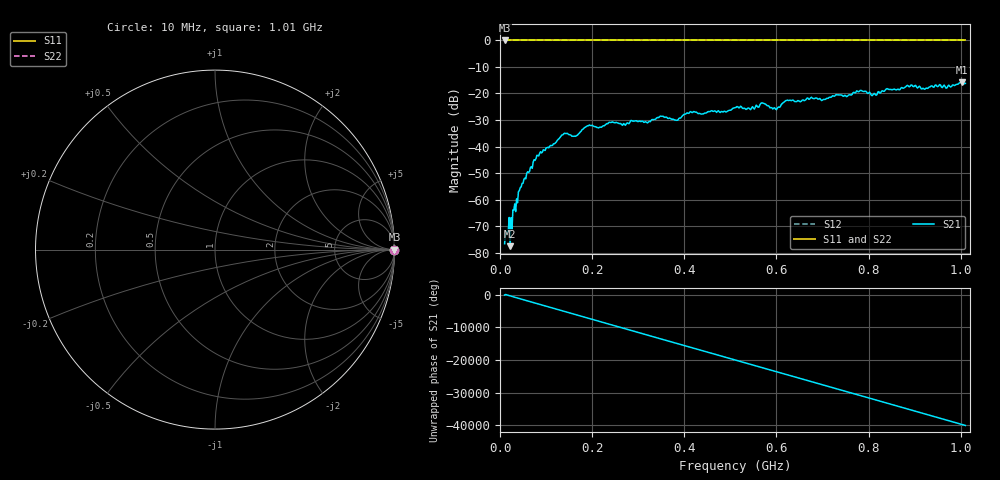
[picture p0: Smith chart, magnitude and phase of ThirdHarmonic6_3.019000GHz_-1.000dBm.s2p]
! 8/17/2025 8:41:03 AM
! C:\ANRITSUVNA\TEMP\TEMP.S2P
! CHANNEL.1
! TR.MEASUREMENT
! RAW.DATA
! RF.CORRECTION.OFF
! AVERAGING.OFF
! IF.BANDWIDTH: 5KHZ
! SWEEPTYPE:  FREQ.SWEEP(Linear)
! Reference Plane Port Info
! PORT:  PORT1  PORT2
! DISTANCE:  0  m  0  m
! TIME:  0  s  0  s
! PHASE.OFFSET:  0  deg.  0  deg.
! LOSS:  0  dB  0  dB
! REF.LOSS:  0  dB  0  dB
! REF.FREQ:  0  Hz  0  Hz
! Power Info
! POWER:  -20  dBm  -20  dBm
! EFF.POWER:  -20  dBm  -20  dBm
! SOURCE.ATTEN:  0  dB  0  dB
! TEST.ATTEN:  0  dB  0  dB
# GHZ S RI R 50.0
! FREQ.GHZ  S11RE  S11IM  S21RE  S21IM  S12RE  S12IM  S22RE  S22IM
!; PortSelection: Port_12
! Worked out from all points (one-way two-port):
!   501 points, 10 MHz to 1.01 GHz, reference 50 ohm
!   highest |S21| = -15.79 dB at 1.002 GHz (marker M1); lowest = -77.6 dB at 22 MHz (marker M2)
!   lowest |S11| = 0.0 dB at 10 MHz (marker M3)
!   |S11| at or under -10 dB: nowhere
!   |S22| runs from 0.0 to 0.0 dB; largest |S21 - S12| = 1.1
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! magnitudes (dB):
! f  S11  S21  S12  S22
! 10 MHz  0.0  -76.7  0.0  0.0
! 16 MHz  0.0  -72.2  0.0  0.0
! 22 MHz  0.0  -77.6  0.0  0.0
! 44 MHz  0.0  -55.5  0.0  0.0
! 78 MHz  0.0  -44.6  0.0  0.0
! 138 MHz  0.0  -35.3  0.0  0.0
! 164 MHz  0.0  -36.2  0.0  0.0
! 178 MHz  0.0  -33.7  0.0  0.0
! 344 MHz  0.0  -29.1  0.0  0.0
! 382 MHz  0.0  -30.1  0.0  0.0
! 416 MHz  0.0  -27.2  0.0  0.0
! 510 MHz  0.0  -25.4  0.0  0.0
! 548 MHz  0.0  -25.0  0.0  0.0
! 570 MHz  0.0  -23.6  0.0  0.0
! 596 MHz  0.0  -25.4  0.0  0.0
! 622 MHz  0.0  -22.6  0.0  0.0
! 678 MHz  0.0  -21.8  0.0  0.0
! 784 MHz  0.0  -18.9  0.0  0.0
! 812 MHz  0.0  -20.0  0.0  0.0
! 844 MHz  0.0  -18.5  0.0  0.0
! 1.002 GHz  0.0  -15.8  0.0  0.0
! 1.01 GHz  0.0  -16.2  0.0  0.0
